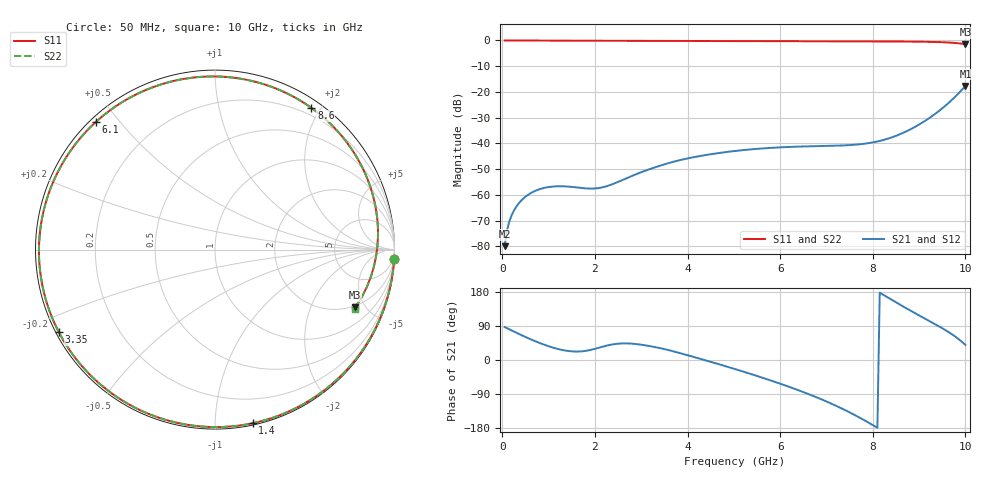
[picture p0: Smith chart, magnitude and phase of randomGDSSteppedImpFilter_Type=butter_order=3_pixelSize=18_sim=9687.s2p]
! freq	dB(S11)	phase(S11)	dB(S12)	phase(S12)
!  dB(S21)	phase(S21)	dB(S22)	phase(S22)
!S-par simulation data
#  GHz  S  DB  R 50
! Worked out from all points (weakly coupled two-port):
!   200 points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, 50 MHz to 10 GHz, reference 50 ohm
!   highest |S21| = -17.71 dB at 10 GHz (marker M1); lowest = -80.0 dB at 50 MHz (marker M2)
!   lowest |S11| = -1.5 dB at 10 GHz (marker M3), VSWR 11.95, Z = 94.3 - j213 ohm
!   |S11| at or under -10 dB: nowhere
!   |S22| runs from -1.5 to 0.0 dB; largest |S21 - S12| = 0
!   S11 on the Smith chart (normalised r, x): 50 MHz: 0, -38; 1.4 GHz: 0.01, -1.24; 3.35 GHz: 0.01, -0.25; 6.1 GHz: 0.02, +0.44; 8.6 GHz: 0.11, +1.89; 10 GHz: 1.89, -4.26
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0.05  -0.00 -3.0  -79.95 87.0  -79.95 87.0  -0.00 -3.0
0.1  -0.01 -6.1  -73.96 84.0  -73.96 84.0  -0.01 -6.1
0.2  -0.02 -12.0  -68.04 78.0  -68.04 78.0  -0.02 -12.1
0.45  -0.04 -26.8  -61.50 63.6  -61.50 63.6  -0.04 -26.8
0.85  -0.06 -49.5  -57.56 42.9  -57.56 42.9  -0.06 -49.5
1.4  -0.09 -77.8  -56.76 24.2  -56.76 24.2  -0.09 -77.8
1.75  -0.10 -93.9  -57.42 23.3  -57.42 23.3  -0.10 -93.9
2.15  -0.11 -110.6  -57.14 34.6  -57.14 34.6  -0.11 -110.6
2.55  -0.12 -125.7  -54.59 43.5  -54.59 43.5  -0.12 -125.7
3.35  -0.14 -152.2  -49.01 32.8  -49.01 32.8  -0.14 -152.2
3.4  -0.14 -153.7  -48.72 31.5  -48.72 31.5  -0.14 -153.7
4.2  -0.16 -176.8  -45.14 5.7  -45.14 5.7  -0.16 -176.8
5.05  -0.19 160.5  -42.91 -24.8  -42.91 -24.8  -0.19 160.4
6.1  -0.24 132.8  -41.45 -66.7  -41.45 -66.7  -0.24 132.8
6.7  -0.27 116.5  -41.11 -94.2  -41.11 -94.2  -0.27 116.4
7.6  -0.31 90.2  -40.54 -144.5  -40.54 -144.5  -0.31 90.0
8.35  -0.37 65.1  -38.04 163.1  -38.04 163.1  -0.37 64.9
8.6  -0.40 55.8  -36.35 145.2  -36.35 145.2  -0.40 55.6
9.05  -0.49 36.9  -32.15 114.3  -32.15 114.3  -0.49 36.6
9.5  -0.68 13.8  -26.40 83.9  -26.40 83.9  -0.69 13.5
9.75  -0.93 -2.2  -22.40 64.5  -22.40 64.5  -0.94 -2.7
10  -1.46 -22.4  -17.71 39.8  -17.71 39.8  -1.47 -23.0
